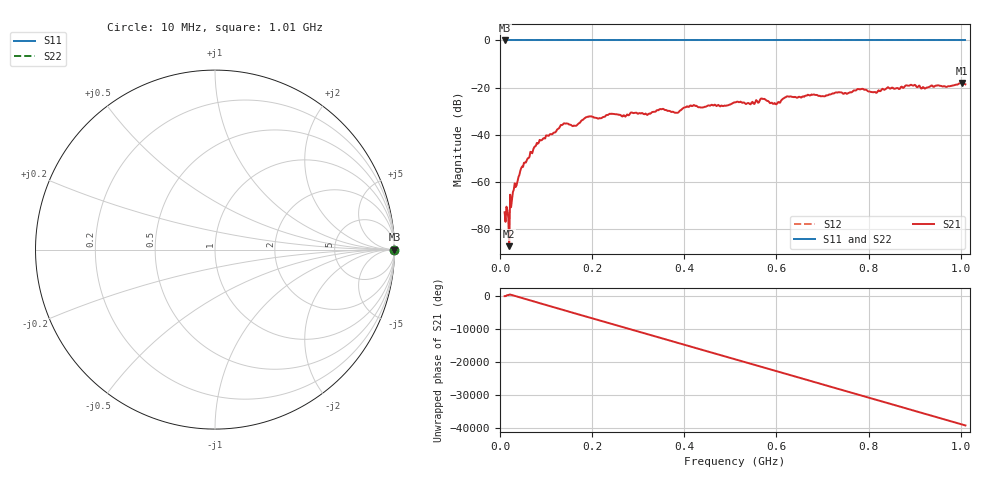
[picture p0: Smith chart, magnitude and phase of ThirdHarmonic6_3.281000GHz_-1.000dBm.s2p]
! 8/17/2025 10:10:44 AM
! C:\ANRITSUVNA\TEMP\TEMP.S2P
! CHANNEL.1
! TR.MEASUREMENT
! RAW.DATA
! RF.CORRECTION.OFF
! AVERAGING.OFF
! IF.BANDWIDTH: 5KHZ
! SWEEPTYPE:  FREQ.SWEEP(Linear)
! Reference Plane Port Info
! PORT:  PORT1  PORT2
! DISTANCE:  0  m  0  m
! TIME:  0  s  0  s
! PHASE.OFFSET:  0  deg.  0  deg.
! LOSS:  0  dB  0  dB
! REF.LOSS:  0  dB  0  dB
! REF.FREQ:  0  Hz  0  Hz
! Power Info
! POWER:  -20  dBm  -20  dBm
! EFF.POWER:  -20  dBm  -20  dBm
! SOURCE.ATTEN:  0  dB  0  dB
! TEST.ATTEN:  0  dB  0  dB
# GHZ S RI R 50.0
! FREQ.GHZ  S11RE  S11IM  S21RE  S21IM  S12RE  S12IM  S22RE  S22IM
!; PortSelection: Port_12
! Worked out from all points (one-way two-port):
!   501 points, 10 MHz to 1.01 GHz, reference 50 ohm
!   highest |S21| = -18.07 dB at 1.002 GHz (marker M1); lowest = -87.2 dB at 20 MHz (marker M2)
!   lowest |S11| = 0.0 dB at 10 MHz (marker M3)
!   |S11| at or under -10 dB: nowhere
!   |S22| runs from 0.0 to 0.0 dB; largest |S21 - S12| = 1.1
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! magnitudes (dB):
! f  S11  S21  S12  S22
! 10 MHz  0.0  -72.8  0.0  0.0
! 16 MHz  0.0  -71.9  0.0  0.0
! 20 MHz  0.0  -87.2  0.0  0.0
! 26 MHz  0.0  -67.6  0.0  0.0
! 44 MHz  0.0  -55.3  0.0  0.0
! 78 MHz  0.0  -44.6  0.0  0.0
! 136 MHz  0.0  -35.7  0.0  0.0
! 162 MHz  0.0  -36.2  0.0  0.0
! 178 MHz  0.0  -33.8  0.0  0.0
! 344 MHz  0.0  -29.6  0.0  0.0
! 384 MHz  0.0  -30.7  0.0  0.0
! 416 MHz  0.0  -27.8  0.0  0.0
! 510 MHz  0.0  -26.3  0.0  0.0
! 570 MHz  0.0  -24.8  0.0  0.0
! 596 MHz  0.0  -26.5  0.0  0.0
! 622 MHz  0.0  -23.7  0.0  0.0
! 678 MHz  0.0  -23.0  0.0  0.0
! 782 MHz  0.0  -20.7  0.0  0.0
! 814 MHz  0.0  -21.8  0.0  0.0
! 844 MHz  0.0  -20.1  0.0  0.0
! 1.002 GHz  0.0  -18.1  0.0  0.0
! 1.01 GHz  0.0  -18.6  0.0  0.0
